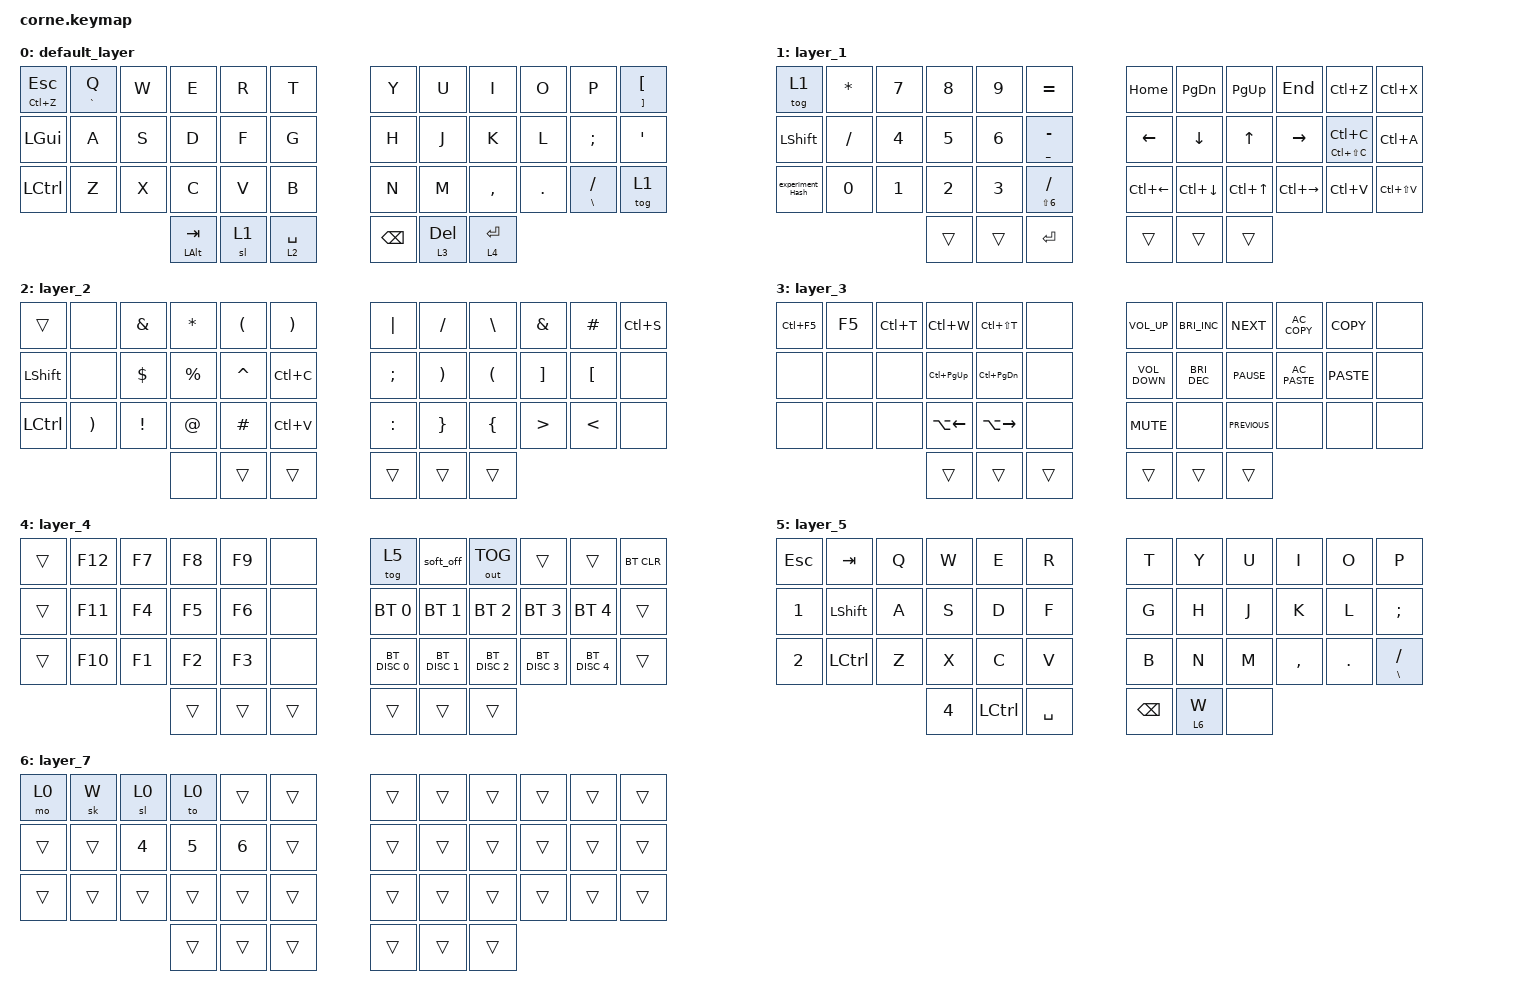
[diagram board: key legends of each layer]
/*
 * Copyright (c) 2020 The ZMK Contributors
 *
 * SPDX-License-Identifier: MIT
 */

#include <behaviors.dtsi>
#include <dt-bindings/zmk/bt.h>
#include <dt-bindings/zmk/keys.h>
#include <dt-bindings/zmk/outputs.h>

/ {
    combos {
        compatible = "zmk,combos";

        button_esc {
            bindings = <&kp ESC>;
            key-positions = <0 11>;
        };

        caps_word {
            bindings = <&kp CLCK>;
            key-positions = <29 30>;
        };

        lang {
            bindings = <&kp LS(LEFT_ALT)>;
            key-positions = <17 18>;
        };

        prt_sc {
            bindings = <&kp PRINTSCREEN>;
            key-positions = <5 6>;
        };

        shift {
            bindings = <&sk LSHIFT>;
            key-positions = <16 19>;
        };

        dot {
            bindings = <&dot_space_shift>;
            key-positions = <28 31>;
        };

        comma {
            bindings = <&comma_space>;
            key-positions = <15 20>;
        };
    };

    macros {
        dot_space_shift: dot_space_shift {
            compatible = "zmk,behavior-macro";
            #binding-cells = <0>;
            bindings = <&kp SLASH &kp SPACE &sk LSHFT>;
            label = "DOT_SPACE_SHIFT";
        };

        experiment_Hash: dot_ru {
            compatible = "zmk,behavior-macro";
            #binding-cells = <0>;
            bindings = <&kp LA(LEFT_SHIFT) &kp LS(NUMBER_3) &kp LA(LEFT_SHIFT)>;
            label = "DOT_RU";
        };

        comma_space: comma_space {
            compatible = "zmk,behavior-macro";
            #binding-cells = <0>;
            bindings = <&kp LS(SLASH) &kp SPACE>;
            label = "COMMA_SPACE";
        };
    };

    keymap {
        compatible = "zmk,keymap";

        default_layer {
            // -----------------------------------------------------------------------------------------
            // |  TAB |  Q  |  W  |  E  |  R  |  T  |   |  Y  |  U   |  I  |  O  |  P  | BKSP |
            // | CTRL |  A  |  S  |  D  |  F  |  G  |   |  H  |  J   |  K  |  L  |  ;  |  '   |
            // | SHFT |  Z  |  X  |  C  |  V  |  B  |   |  N  |  M   |  ,  |  .  |  /  | ESC  |
            //                    | GUI | LWR | SPC |   | ENT | RSE  | ALT |

            bindings = <
&mt LC(Z) ESC  &mt GRAVE Q  &kp W  &kp E             &kp R  &kp T          &kp Y          &kp U      &kp I        &kp O    &kp P                &mt RBKT LBKT
&kp LGUI       &kp A        &kp S  &kp D             &kp F  &kp G          &kp H          &kp J      &kp K        &kp L    &kp SEMICOLON        &kp SQT
&kp LCTRL      &kp Z        &kp X  &kp C             &kp V  &kp B          &kp N          &kp M      &kp COMMA    &kp DOT  &mt BACKSLASH SLASH  &tog 1
                                   &mt LEFT_ALT TAB  &sl 1  &lt 2 SPACE    &kp BACKSPACE  &lt 3 DEL  &lt 4 ENTER
            >;
        };

        layer_1 {
            // -----------------------------------------------------------------------------------------
            // |  TAB |  1  |  2  |  3  |  4  |  5  |   |  6  |  7  |  8  |  9  |  0  | BKSP |
            // | BTCLR| BT1 | BT2 | BT3 | BT4 | BT5 |   | LFT | DWN |  UP | RGT |     |      |
            // | SHFT |     |     |     |     |     |   |     |     |     |     |     |      |
            //                    | GUI |     | SPC |   | ENT |     | ALT |

            bindings = <
&tog 1            &kp STAR   &kp N7  &kp N8  &kp N9  &kp EQUAL               &kp HOME      &kp PG_DN     &kp PG_UP   &kp END        &kp LC(Z)            &kp LC(X)
&kp LEFT_SHIFT    &kp SLASH  &kp N4  &kp N5  &kp N6  &mt UNDERSCORE MINUS    &kp LEFT      &kp DOWN      &kp UP      &kp RIGHT      &mt LC(LS(C)) LC(C)  &kp LC(A)
&experiment_Hash  &kp N0     &kp N1  &kp N2  &kp N3  &mt LS(N6) SLASH        &kp LC(LEFT)  &kp LC(DOWN)  &kp LC(UP)  &kp LC(RIGHT)  &kp LC(V)            &kp LC(LS(V))
                                     &trans  &trans  &kp ENTER               &trans        &trans        &trans
            >;
        };

        layer_2 {
            // -----------------------------------------------------------------------------------------
            // |  TAB |  !  |  @  |  #  |  $  |  %  |   |  ^  |  &  |  *  |  (  |  )  | BKSP |
            // | CTRL |     |     |     |     |     |   |  -  |  =  |  [  |  ]  |  \  |  `   |
            // | SHFT |     |     |     |     |     |   |  _  |  +  |  {  |  }  | "|" |  ~   |
            //                    | GUI |     | SPC |   | ENT |     | ALT |

            bindings = <
&trans          &none                  &kp AMPERSAND  &kp STAR     &kp LEFT_PARENTHESIS  &kp RIGHT_PARENTHESIS    &kp PIPE       &kp SLASH              &kp BACKSLASH         &kp AMPERSAND      &kp HASH          &kp LC(S)
&kp LEFT_SHIFT  &none                  &kp DOLLAR     &kp PERCENT  &kp CARET             &kp LC(C)                &kp SEMICOLON  &kp RIGHT_PARENTHESIS  &kp LEFT_PARENTHESIS  &kp RIGHT_BRACKET  &kp LEFT_BRACKET  &none
&kp LCTRL       &kp RIGHT_PARENTHESIS  &kp EXCL       &kp AT       &kp HASH              &kp LC(V)                &kp COLON      &kp RIGHT_BRACE        &kp LEFT_BRACE        &kp GREATER_THAN   &kp LESS_THAN     &none
                                                      &none        &trans                &trans                   &trans         &trans                 &trans
            >;
        };

        layer_3 {
            bindings = <
&kp LC(F5)  &kp F5  &kp LC(T)  &kp LC(W)      &kp LC(LS(T))  &none     &kp C_VOLUME_UP    &kp C_BRIGHTNESS_INC  &kp C_NEXT      &kp C_AC_COPY   &kp K_COPY   &none
&none       &none   &none      &kp LC(PG_UP)  &kp LC(PG_DN)  &none     &kp C_VOLUME_DOWN  &kp C_BRIGHTNESS_DEC  &kp C_PAUSE     &kp C_AC_PASTE  &kp K_PASTE  &none
&none       &none   &none      &kp LA(LEFT)   &kp LA(RIGHT)  &none     &kp C_MUTE         &none                 &kp K_PREVIOUS  &none           &none        &none
                               &trans         &trans         &trans    &trans             &trans                &trans
            >;
        };

        layer_4 {
            bindings = <
&trans  &kp F12  &kp F7  &kp F8  &kp F9  &none     &tog 5         &soft_off      &out OUT_TOG   &trans         &trans         &bt BT_CLR
&trans  &kp F11  &kp F4  &kp F5  &kp F6  &none     &bt BT_SEL 0   &bt BT_SEL 1   &bt BT_SEL 2   &bt BT_SEL 3   &bt BT_SEL 4   &trans
&trans  &kp F10  &kp F1  &kp F2  &kp F3  &none     &bt BT_DISC 0  &bt BT_DISC 1  &bt BT_DISC 2  &bt BT_DISC 3  &bt BT_DISC 4  &trans
                         &trans  &trans  &trans    &trans         &trans         &trans
            >;
        };

        layer_5 {
            bindings = <
&kp ESCAPE    &kp TAB         &kp Q  &kp W         &kp E      &kp R        &kp T          &kp Y    &kp U  &kp I      &kp O    &kp P
&kp NUMBER_1  &kp LEFT_SHIFT  &kp A  &kp S         &kp D      &kp F        &kp G          &kp H    &kp J  &kp K      &kp L    &kp SEMICOLON
&kp NUMBER_2  &kp LCTRL       &kp Z  &kp X         &kp C      &kp V        &kp B          &kp N    &kp M  &kp COMMA  &kp DOT  &mt BACKSLASH SLASH
                                     &kp NUMBER_4  &kp LCTRL  &kp SPACE    &kp BACKSPACE  &lt 6 W  &none
            >;
        };

        layer_7 {
            bindings = <
&mo 0   &sk W   &sl 0         &to 0   &trans        &trans    &trans  &trans  &trans  &trans  &trans  &trans
&trans  &trans  &kp NUMBER_4  &kp N5  &kp NUMBER_6  &trans    &trans  &trans  &trans  &trans  &trans  &trans
&trans  &trans  &trans        &trans  &trans        &trans    &trans  &trans  &trans  &trans  &trans  &trans
                              &trans  &trans        &trans    &trans  &trans  &trans
            >;
        };
    };

    conditional_layers { compatible = "zmk,conditional-layers"; };
};
